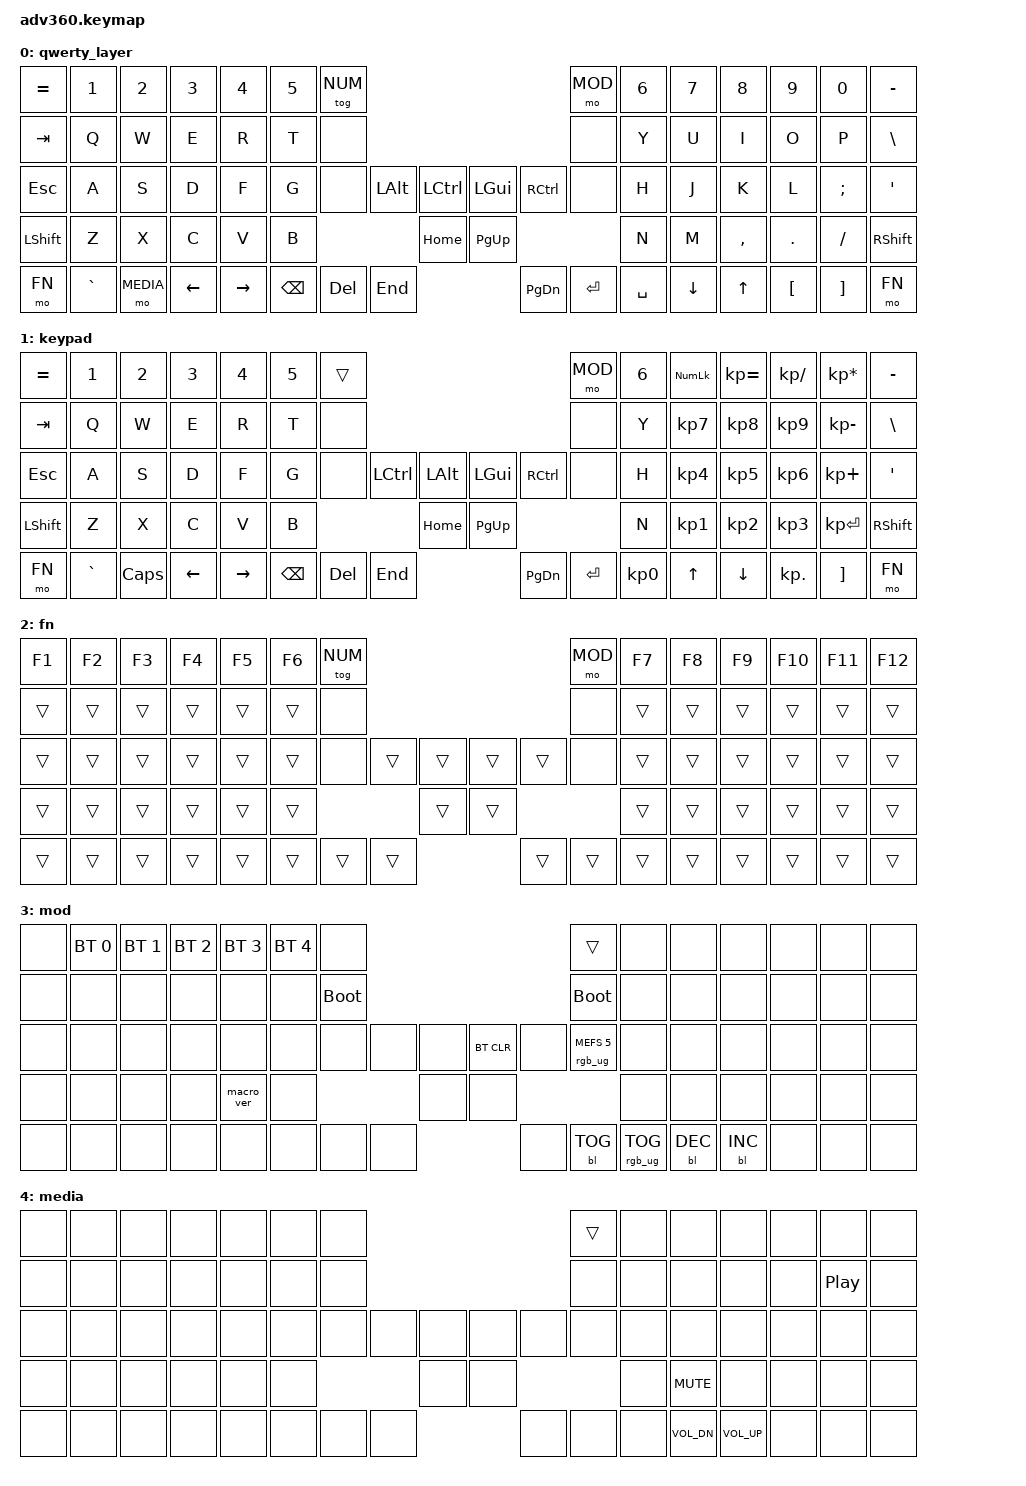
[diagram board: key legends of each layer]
#include <behaviors.dtsi>
#include <dt-bindings/zmk/keys.h>
#include <dt-bindings/zmk/bt.h>
#include <dt-bindings/zmk/rgb.h>
#include <dt-bindings/zmk/backlight.h>

/* Layer references  */
#define QWERTY 0
#define NUM    1
#define FN     2
#define MOD    3
#define MEDIA  4

/ {
    behaviors {
      #include "macros.dtsi"
      #include "version.dtsi"
      #ifndef VERSION_MACRO
      macro_ver: macro_ver {
        compatible = "zmk,behavior-macro";
        label = "macro_version";
        #binding-cells = <0>;
        bindings = <&kp RET>;
      };
      #endif

      hm: homerow_mods {
          compatible = "zmk,behavior-hold-tap";
          label = "HOMEROW_MODS";
          #binding-cells = <2>;
          tapping-term-ms = <200>;
          quick_tap_ms = <175>;
          flavor = "tap-preferred";
          bindings = <&kp>, <&kp>;
      };
    };

  keymap {
    compatible = "zmk,keymap";

    qwerty_layer {
      bindings = <
        &kp EQUAL &kp N1    &kp N2    &kp N3   &kp N4     &kp N5 &tog NUM                                                          &mo MOD &kp N6 &kp N7   &kp N8    &kp N9   &kp N0   &kp MINUS
        &kp TAB   &kp Q     &kp W     &kp E    &kp R      &kp T  &none                                                             &none   &kp Y  &kp U    &kp I     &kp O    &kp P    &kp BSLH
        &kp ESC   &kp A     &kp S     &kp D    &kp F      &kp G  &none           &kp LALT  &kp LCTRL &kp LGUI  &kp RCTRL           &none   &kp H  &kp J    &kp K     &kp L    &kp SEMI &kp SQT
        &kp LSHFT &kp Z     &kp X     &kp C    &kp V      &kp B                            &kp HOME  &kp PG_UP                             &kp N  &kp M    &kp COMMA &kp DOT  &kp FSLH &kp RSHFT
        &mo FN    &kp GRAVE &mo MEDIA &kp LEFT &kp RIGHT                &kp BSPC &kp DEL   &kp END   &kp PG_DN &kp ENTER &kp SPACE                &kp DOWN &kp UP    &kp LBKT &kp RBKT &mo FN
      >;
    };
    keypad {
      bindings = <
        &kp EQUAL &kp N1    &kp N2   &kp N3   &kp N4     &kp N5 &trans                                                           &mo MOD &kp N6 &kp KP_NUM &kp KP_EQUAL &kp KP_DIVIDE &kp KP_MULTIPLY &kp MINUS
        &kp TAB   &kp Q     &kp W    &kp E    &kp R      &kp T  &none                                                            &none   &kp Y  &kp KP_N7  &kp KP_N8    &kp KP_N9     &kp KP_MINUS    &kp BSLH
        &kp ESC   &kp A     &kp S    &kp D    &kp F      &kp G  &none           &kp LCTRL &kp LALT &kp LGUI  &kp RCTRL           &none   &kp H  &kp KP_N4  &kp KP_N5    &kp KP_N6     &kp KP_PLUS     &kp SQT
        &kp LSHFT &kp Z     &kp X    &kp C    &kp V      &kp B                            &kp HOME &kp PG_UP                             &kp N  &kp KP_N1  &kp KP_N2    &kp KP_N3     &kp KP_ENTER    &kp RSHFT
        &mo FN    &kp GRAVE &kp CAPS &kp LEFT &kp RIGHT                &kp BSPC &kp DEL   &kp END  &kp PG_DN &kp ENTER &kp KP_N0                &kp UP     &kp DOWN     &kp KP_DOT    &kp RBKT        &mo FN
      >;
    };
    fn {
      bindings = <
        &kp F1 &kp F2 &kp F3 &kp F4 &kp F5 &kp F6 &tog NUM                                         &mo MOD &kp F7 &kp F8 &kp F9 &kp F10 &kp F11 &kp F12
        &trans &trans &trans &trans &trans &trans  &none                                           &none   &trans &trans &trans &trans  &trans  &trans
        &trans &trans &trans &trans &trans &trans  &none        &trans &trans &trans &trans        &none   &trans &trans &trans &trans  &trans  &trans
        &trans &trans &trans &trans &trans &trans                      &trans &trans                       &trans &trans &trans &trans  &trans  &trans
        &trans &trans &trans &trans &trans               &trans &trans &trans &trans &trans &trans                &trans &trans &trans  &trans  &trans
      >;
    };
    mod {
      bindings = <
        &none &bt BT_SEL 0 &bt BT_SEL 1 &bt BT_SEL 2 &bt BT_SEL 3 &bt BT_SEL 4 &none                                                                     &trans                 &none        &none        &none        &none &none &none
        &none &none        &none        &none        &none        &none        &bootloader                                                               &bootloader            &none        &none        &none        &none &none &none
        &none &none        &none        &none        &none        &none        &none                   &none &none &bt BT_CLR &none                      &rgb_ug RGB_MEFS_CMD 5 &none        &none        &none        &none &none &none
        &none &none        &none        &none        &macro_ver   &none                                      &none &none                                                        &none        &none        &none        &none &none &none
        &none &none        &none        &none        &none                                       &none &none &none &none      &bl BL_TOG &rgb_ug RGB_TOG                                     &bl BL_DEC   &bl BL_INC   &none &none &none
      >;
    };
    media {
      bindings = <
        &none &none &none &none &none &none &none                                                 &trans &none  &none         &none         &none &none            &none
        &none &none &none &none &none &none &none                                                 &none  &none  &none         &none         &none &kp C_PLAY_PAUSE &none
        &none &none &none &none &none &none &none                   &none &none &none &none       &none  &none  &none         &none         &none &none            &none
        &none &none &none &none &none &none                               &none &none                    &none  &kp C_MUTE    &none         &none &none            &none
        &none &none &none &none &none                         &none &none &none &none &none &none               &kp C_VOL_DN  &kp C_VOL_UP  &none &none            &none
      >;
    };
  };
};
